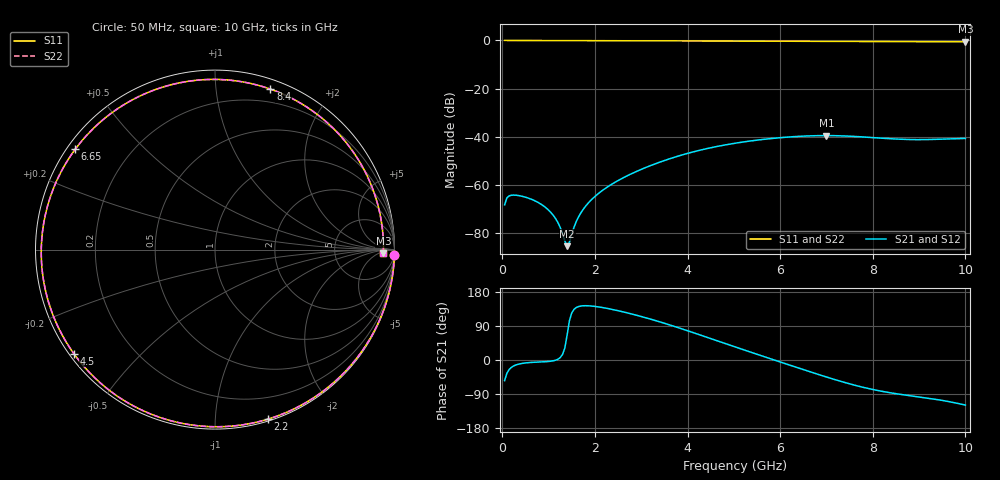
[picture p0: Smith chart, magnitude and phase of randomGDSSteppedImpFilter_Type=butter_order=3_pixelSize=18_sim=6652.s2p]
! freq	dB(S11)	phase(S11)	dB(S12)	phase(S12)
!  dB(S21)	phase(S21)	dB(S22)	phase(S22)
!S-par simulation data
#  GHz  S  DB  R 50
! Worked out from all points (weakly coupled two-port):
!   200 points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, 50 MHz to 10 GHz, reference 50 ohm
!   highest |S21| = -39.45 dB at 7 GHz (marker M1); lowest = -85.3 dB at 1.4 GHz (marker M2)
!   lowest |S11| = -0.6 dB at 10 GHz (marker M3), VSWR 31.45, Z = 1.42e+03 - j467 ohm
!   |S11| at or under -10 dB: nowhere
!   |S22| runs from -0.6 to 0.0 dB; largest |S21 - S12| = 0
!   S11 on the Smith chart (normalised r, x): 50 MHz: 0, -67; 2.2 GHz: 0.02, -1.36; 4.5 GHz: 0.01, -0.33; 6.65 GHz: 0.02, +0.32; 8.4 GHz: 0.08, +1.40; 10 GHz: 28, -9
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0.05  -0.00 -1.7  -68.17 -54.4  -68.17 -54.4  -0.00 -1.7
0.1  -0.00 -3.4  -65.23 -34.8  -65.23 -34.8  -0.00 -3.4
0.2  -0.00 -6.8  -64.17 -19.0  -64.17 -19.0  -0.00 -6.8
0.7  -0.02 -23.8  -66.45 -5.8  -66.45 -5.8  -0.02 -23.8
1.05  -0.04 -35.4  -71.35 -3.2  -71.35 -3.2  -0.04 -35.4
1.3  -0.05 -43.7  -80.03 14.4  -80.03 14.4  -0.05 -43.7
1.4  -0.06 -47.0  -85.30 66.1  -85.30 66.1  -0.06 -47.0
1.5  -0.06 -50.2  -80.28 124.3  -80.28 124.3  -0.06 -50.2
1.75  -0.07 -58.3  -69.96 143.1  -69.96 143.1  -0.07 -58.3
2.2  -0.09 -72.7  -61.67 137.6  -61.67 137.6  -0.09 -72.7
3.4  -0.14 -110.0  -50.47 100.7  -50.47 100.7  -0.14 -110.0
4.5  -0.20 -143.6  -44.50 56.6  -44.50 56.6  -0.20 -143.6
5.05  -0.24 -160.9  -42.54 33.6  -42.54 33.6  -0.24 -160.8
5.85  -0.30 172.9  -40.59 0.9  -40.59 0.9  -0.30 172.9
6.65  -0.37 144.3  -39.55 -31.3  -39.55 -31.3  -0.37 144.3
6.7  -0.37 142.4  -39.52 -33.2  -39.52 -33.2  -0.37 142.4
7  -0.40 130.8  -39.45 -44.9  -39.45 -44.9  -0.40 130.9
7.7  -0.45 102.0  -39.90 -69.3  -39.90 -69.3  -0.45 102.1
8.35  -0.48 73.2  -40.72 -85.9  -40.72 -85.9  -0.48 73.3
8.4  -0.48 71.0  -40.78 -87.0  -40.78 -87.0  -0.48 71.0
9.25  -0.51 32.0  -41.06 -101.8  -41.06 -101.8  -0.51 32.1
10  -0.55 -1.2  -40.64 -119.0  -40.64 -119.0  -0.55 -1.1
